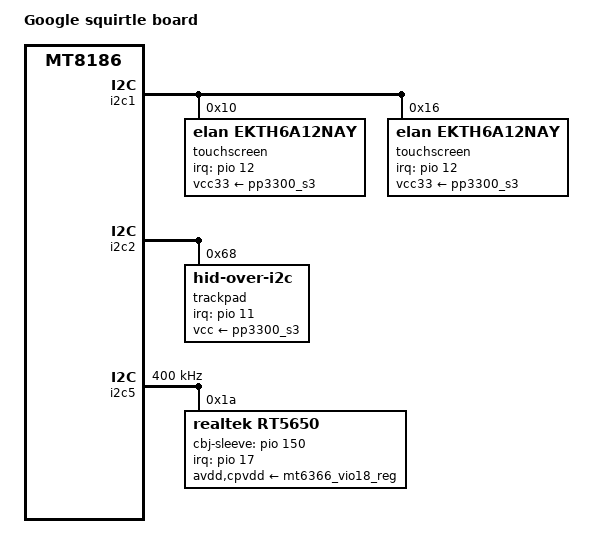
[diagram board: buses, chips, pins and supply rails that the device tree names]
// SPDX-License-Identifier: (GPL-2.0 OR MIT)
/*
 * Copyright 2024 Google LLC
 */

/dts-v1/;
#include "mt8186-corsola-voltorb.dtsi"

/ {
	model = "Google squirtle board";
	compatible = "google,squirtle","mediatek,mt8186";
};

&i2c1 {
	pinctrl-names = "default";
	pinctrl-0 = <&i2c1_pins &touchscreen_pins>;

	touchscreen@10 {
		status = "okay";
		compatible = "elan,ekth6a12nay";
		reg = <0x10>;
		interrupts-extended = <&pio 12 IRQ_TYPE_LEVEL_LOW>;
		/*
		 * Squirtle has a second source touchscreen using the same
		 * GPIO pin. This causes both devices to fail probe, so
		 * `reset-gpios` are commented. Not using `reset-gpios`
		 * does not change the operation of the touchscreen,
		 * because this pin is pulled high in pinctrl. This property
		 * will be commented out until the correct solution
		 * is merged into upstream.
		 * reset-gpios = <&pio 60 GPIO_ACTIVE_LOW>;
		 */
		vcc33-supply = <&pp3300_s3>;
	};

	touchscreen@16 {
		status = "okay";
		compatible = "elan,ekth6a12nay";
		reg = <0x16>;
		interrupts-extended = <&pio 12 IRQ_TYPE_LEVEL_LOW>;
		/*
		 * Squirtle has a second source touchscreen using the same
		 * GPIO pin. This causes both devices to fail probe, so
		 * `reset-gpios` are commented. Not using `reset-gpios`
		 * does not change the operation of the touchscreen,
		 * because this pin is pulled high in pinctrl. This property
		 * will be commented out until the correct solution
		 * is merged into upstream.
		 * reset-gpios = <&pio 60 GPIO_ACTIVE_LOW>;
		 */
		vcc33-supply = <&pp3300_s3>;
	};
};

&i2c2 {
	trackpad@2c {
		status = "disabled";
	};

	trackpad@68 {
		compatible = "hid-over-i2c";
		reg = <0x68>;
		hid-descr-addr = <0x20>;
		interrupts-extended = <&pio 11 IRQ_TYPE_LEVEL_LOW>;
		vcc-supply = <&pp3300_s3>;
		wakeup-source;
	};
};

&i2c5 {
	clock-frequency = <400000>;

	/delete-node/ codec@1a;

	rt5650: codec@1a {
		compatible = "realtek,rt5650";
		reg = <0x1a>;
		interrupts-extended = <&pio 17 IRQ_TYPE_EDGE_BOTH>;
		avdd-supply = <&mt6366_vio18_reg>;
		cpvdd-supply = <&mt6366_vio18_reg>;
		pinctrl-names = "default";
		pinctrl-0 = <&speaker_codec_pins_default>;
		cbj-sleeve-gpio = <&pio 150 GPIO_ACTIVE_HIGH>;
		#sound-dai-cells = <0>;
		realtek,dmic1-data-pin = <2>;
		realtek,jd-mode = <2>;
	};
};

&speaker_codec {
	status = "disabled";
};

&sound {
	compatible = "mediatek,mt8186-mt6366-rt5650-sound";
	model = "mt8186_rt5650";

	audio-routing =
		"Headphone", "HPOL",
		"Headphone", "HPOR",
		"HDMI1", "TX";

	hs-playback-dai-link {
		codec {
			sound-dai = <&rt5650>;
		};
	};

	hs-capture-dai-link {
		codec {
			sound-dai = <&rt5650>;
		};
	};

	spk-hdmi-playback-dai-link {
		codec {
			sound-dai = <&it6505dptx>;
		};
	};
};
